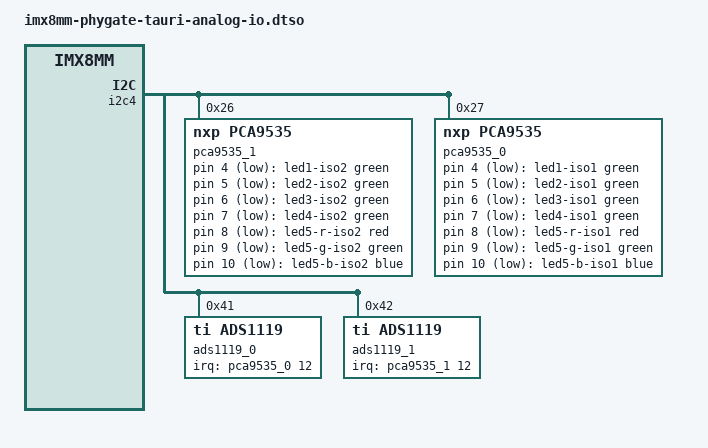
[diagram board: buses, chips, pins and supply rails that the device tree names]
// SPDX-License-Identifier: GPL-2.0
/*
* Copyright (C) 2023 PHYTEC Messtechnik GmbH
* Author: Felix Siebel <f.siebel@phytec.de>
*/

/dts-v1/;
/plugin/;

#include <dt-bindings/leds/common.h>
#include <dt-bindings/gpio/gpio.h>
#include <dt-bindings/interrupt-controller/irq.h>

/{
	compatible = "phytec,imx8mm-phyboard-tauri";
};

&{/}{
	leds-expander {
		compatible = "gpio-leds";

		led1-iso1 {
			function = LED_FUNCTION_STATUS;
			color = <LED_COLOR_ID_GREEN>;
			gpios = <&pca9535_0 4  GPIO_ACTIVE_LOW>;
			linux,default-trigger = "off";
			default-state = "on";
		};

		led2-iso1 {
			function = LED_FUNCTION_STATUS;
			color = <LED_COLOR_ID_GREEN>;
			gpios = <&pca9535_0 5  GPIO_ACTIVE_LOW>;
			linux,default-trigger = "off";
			default-state = "on";
		};

		led3-iso1 {
			function = LED_FUNCTION_STATUS;
			color = <LED_COLOR_ID_GREEN>;
			gpios = <&pca9535_0 6  GPIO_ACTIVE_LOW>;
			linux,default-trigger = "off";
			default-state = "on";
		};

		led4-iso1 {
			function = LED_FUNCTION_STATUS;
			color = <LED_COLOR_ID_GREEN>;
			gpios = <&pca9535_0 7  GPIO_ACTIVE_LOW>;
			linux,default-trigger = "off";
			default-state = "on";
		};

		led5-r-iso1 {
			function = LED_FUNCTION_STATUS;
			color = <LED_COLOR_ID_RED>;
			gpios = <&pca9535_0 8  GPIO_ACTIVE_LOW>;
			linux,default-trigger = "off";
			default-state = "on";
		};

		led5-g-iso1 {
			function = LED_FUNCTION_STATUS;
			color = <LED_COLOR_ID_GREEN>;
			gpios = <&pca9535_0 9  GPIO_ACTIVE_LOW>;
			linux,default-trigger = "off";
			default-state = "on";
		};

		led5-b-iso1 {
			function = LED_FUNCTION_STATUS;
			color = <LED_COLOR_ID_BLUE>;
			gpios = <&pca9535_0 10  GPIO_ACTIVE_LOW>;
			linux,default-trigger = "off";
			default-state = "on";
		};

		led1-iso2 {
			function = LED_FUNCTION_STATUS;
			color = <LED_COLOR_ID_GREEN>;
			gpios = <&pca9535_1 4  GPIO_ACTIVE_LOW>;
			linux,default-trigger = "off";
			default-state = "on";
		};

		led2-iso2 {
			function = LED_FUNCTION_STATUS;
			color = <LED_COLOR_ID_GREEN>;
			gpios = <&pca9535_1 5  GPIO_ACTIVE_LOW>;
			linux,default-trigger = "off";
			default-state = "on";
		};

		led3-iso2 {
			function = LED_FUNCTION_STATUS;
			color = <LED_COLOR_ID_GREEN>;
			gpios = <&pca9535_1 6  GPIO_ACTIVE_LOW>;
			linux,default-trigger = "off";
			default-state = "on";
		};

		led4-iso2 {
			function = LED_FUNCTION_STATUS;
			color = <LED_COLOR_ID_GREEN>;
			gpios = <&pca9535_1 7  GPIO_ACTIVE_LOW>;
			linux,default-trigger = "off";
			default-state = "on";
		};

		led5-r-iso2 {
			function = LED_FUNCTION_STATUS;
			color = <LED_COLOR_ID_RED>;
			gpios = <&pca9535_1 8  GPIO_ACTIVE_LOW>;
			linux,default-trigger = "off";
			default-state = "on";
		};

		led5-g-iso2 {
			function = LED_FUNCTION_STATUS;
			color = <LED_COLOR_ID_GREEN>;
			gpios = <&pca9535_1 9  GPIO_ACTIVE_LOW>;
			linux,default-trigger = "off";
			default-state = "on";
		};

		led5-b-iso2 {
			function = LED_FUNCTION_STATUS;
			color = <LED_COLOR_ID_BLUE>;
			gpios = <&pca9535_1 10  GPIO_ACTIVE_LOW>;
			linux,default-trigger = "off";
			default-state = "on";
		};
	};
};

&i2c4 {
	#address-cells = <1>;
	#size-cells = <0>;

	pca9535_1: gpio@26 {
		compatible = "nxp,pca9535";
		reg = <0x26>;
		gpio-controller;
		#gpio-cells = <2>;
		interrupt-controller;
		#interruppt-cells = <2>;
		ngpios = <16>;
		gpio-line-names =
			"ntc-ch1-4-iso2", "pt100-ch1-4-iso2", "divider-ch1-4-iso2",
			"current-ch1-4-iso2", "led1-iso2", "led2-iso2", "led3-iso2",
			"led4-iso2", "led5-r-iso2", "led5-g-iso2", "led5-b-iso2",
			"adc-reset-iso2", "adc-drdy-iso2", "mode-select0-iso2",
			"mode-select1-iso2", "mode-select2-iso2";

		adc-reset-iso2-hog {
			gpio-hog;
			gpios = <11 GPIO_ACTIVE_HIGH>;
			output-high;
			line-name = "adc-reset-iso2";
		};
	};

	pca9535_0: gpio@27 {
		compatible = "nxp,pca9535";
		reg = <0x27>;
		gpio-controller;
		#gpio-cells = <2>;
		interrupt-controller;
		#interruppt-cells = <2>;
		ngpios = <16>;
		gpio-line-names =
			"ntc-ch1-4-iso1", "pt100-ch1-4-iso1", "divider-ch1-4-iso1",
			"current-ch1-4-iso1", "led1-iso1", "led2-iso1", "led3-iso1",
			"led4-iso1", "led5-r-iso1", "led5-g-iso1","led5-b-iso1",
			"adc-reset-iso1", "adc-drdy-iso1", "mode-select0-iso1",
			"mode-select1-iso1", "mode-select2-iso1";

		adc-reset-iso1-hog {
			gpio-hog;
			gpios = <11 GPIO_ACTIVE_HIGH>;
			output-high;
			line-name = "adc-reset-iso1";
		};
	};

	ads1119_0: adc@41 {
		compatible = "ti,ads1119";
		reg = <0x41>;
		#address-cells = <1>;
		#size-cells = <0>;
		interrupt-parent = <&pca9535_0>;
		interrupts = <12 IRQ_TYPE_EDGE_FALLING>;

		ads1119_0_a0_a1: channel@0 {
			reg = <0>;
			ti,gain = <1>;
			ti,samplerate = <1000>;
			ti,extref = <1>;
			ti,refvoltage = <3300000>;
		};

		ads1119_0_a2_a3: channel@1 {
			reg = <1>;
			ti,gain = <1>;
			ti,samplerate = <1000>;
			ti,extref = <1>;
			ti,refvoltage = <3300000>;
		};

		ads1119_0_a1_a2: channel@2 {
			reg = <2>;
			ti,gain = <1>;
			ti,samplerate = <1000>;
			ti,extref = <1>;
			ti,refvoltage = <3300000>;
		};

		ads1119_0_a0_g: channel@3 {
			reg = <3>;
			ti,gain = <1>;
			ti,samplerate = <1000>;
			ti,extref = <1>;
			ti,refvoltage = <3300000>;
		};

		ads1119_0_a1_g: channel@4 {
			reg = <4>;
			ti,gain = <1>;
			ti,samplerate = <1000>;
			ti,extref = <1>;
			ti,refvoltage = <3300000>;
		};

		ads1119_0_a2_g: channel@5 {
			reg = <5>;
			ti,gain = <1>;
			ti,samplerate = <1000>;
			ti,extref = <1>;
			ti,refvoltage = <3300000>;
		};

		ads1119_0_a3_g: channel@6 {
			reg = <6>;
			ti,gain = <1>;
			ti,samplerate = <1000>;
			ti,extref = <1>;
			ti,refvoltage = <3300000>;
		};

		ads1119_0_short: channel@7 {
			reg = <7>;
			ti,gain = <1>;
			ti,samplerate = <1000>;
			ti,extref = <1>;
			ti,refvoltage = <3300000>;
		};
	};

	ads1119_1: adc@42 {
		compatible = "ti,ads1119";
		reg = <0x42>;
		#address-cells = <1>;
		#size-cells = <0>;
		interrupt-parent = <&pca9535_1>;
		interrupts = <12 IRQ_TYPE_EDGE_FALLING>;

		ads1119_1_a0_a1: channel@0 {
			reg = <0>;
			ti,gain = <1>;
			ti,samplerate = <1000>;
			ti,extref = <1>;
			ti,refvoltage = <3300000>;
		};

		ads1119_1_a2_a3: channel@1 {
			reg = <1>;
			ti,gain = <1>;
			ti,samplerate = <1000>;
			ti,extref = <1>;
			ti,refvoltage = <3300000>;
		};

		ads1119_1_a1_a2: channel@2 {
			reg = <2>;
			ti,gain = <1>;
			ti,samplerate = <1000>;
			ti,extref = <1>;
			ti,refvoltage = <3300000>;
		};

		ads1119_1_a0_g: channel@3 {
			reg = <3>;
			ti,gain = <1>;
			ti,samplerate = <1000>;
			ti,extref = <1>;
			ti,refvoltage = <3300000>;
		};

		ads1119_1_a1_g: channel@4 {
			reg = <4>;
			ti,gain = <1>;
			ti,samplerate = <1000>;
			ti,extref = <1>;
			ti,refvoltage = <3300000>;
		};

		ads1119_1_a2_g: channel@5 {
			reg = <5>;
			ti,gain = <1>;
			ti,samplerate = <1000>;
			ti,extref = <1>;
			ti,refvoltage = <3300000>;
		};

		ads1119_1_a3_g: channel@6 {
			reg = <6>;
			ti,gain = <1>;
			ti,samplerate = <1000>;
			ti,extref = <1>;
			ti,refvoltage = <3300000>;
		};

		ads1119_1_short: channel@7 {
			reg = <7>;
			ti,gain = <1>;
			ti,samplerate = <1000>;
			ti,extref = <1>;
			ti,refvoltage = <3300000>;
		};
	};
};
